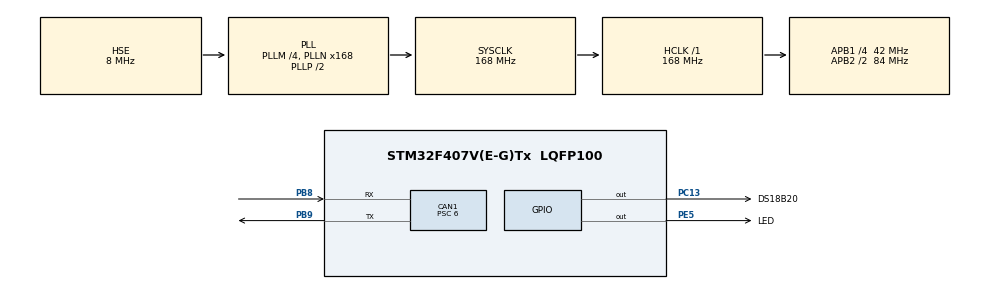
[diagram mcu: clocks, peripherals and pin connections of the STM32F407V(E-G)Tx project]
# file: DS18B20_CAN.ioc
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CAN1.BS1=CAN_BS1_11TQ
CAN1.BS2=CAN_BS2_2TQ
CAN1.CalculateBaudRate=500000
CAN1.CalculateTimeBit=2000
CAN1.CalculateTimeQuantum=142.85714285714286
CAN1.Mode=CAN_MODE_NORMAL
CAN1.NART=ENABLE
CAN1.Prescaler=6
CAN1.SJW=CAN_SJW_1TQ
Mcu.Family=STM32F4
Mcu.Name=STM32F407V(E-G)Tx
Mcu.Package=LQFP100
NVIC.PriorityGroup=NVIC_PRIORITYGROUP_4
PA13.Mode=Serial_Wire
PA13.Signal=SYS_JTMS-SWDIO
PA14.Mode=Serial_Wire
PA14.Signal=SYS_JTCK-SWCLK
PB8.Mode=CAN_Activate
PB8.Signal=CAN1_RX
PB9.Mode=CAN_Activate
PB9.Signal=CAN1_TX
PC13-ANTI_TAMP.GPIO_Label=DS18B20
PC13-ANTI_TAMP.GPIO_ModeDefaultOutputPP=GPIO_MODE_OUTPUT_OD
PC13-ANTI_TAMP.GPIO_PuPd=GPIO_NOPULL
PC13-ANTI_TAMP.GPIO_Speed=GPIO_SPEED_FREQ_LOW
PC13-ANTI_TAMP.PinState=GPIO_PIN_SET
PC13-ANTI_TAMP.Signal=GPIO_Output
PE5.GPIO_Label=LED
PE5.Signal=GPIO_Output
PH0-OSC_IN.Mode=HSE-External-Oscillator
PH0-OSC_IN.Signal=RCC_OSC_IN
PH1-OSC_OUT.Mode=HSE-External-Oscillator
PH1-OSC_OUT.Signal=RCC_OSC_OUT
ProjectManager.HeapSize=0x200
ProjectManager.StackSize=0x400
ProjectManager.TargetToolchain=MDK-ARM V5.32
RCC.48MHZClocksFreq_Value=48000000
RCC.AHBFreq_Value=168000000
RCC.APB1CLKDivider=RCC_HCLK_DIV4
RCC.APB1Freq_Value=42000000
RCC.APB1TimFreq_Value=84000000
RCC.APB2CLKDivider=RCC_HCLK_DIV2
RCC.APB2Freq_Value=84000000
RCC.APB2TimFreq_Value=168000000
RCC.CortexFreq_Value=168000000
RCC.HCLKFreq_Value=168000000
RCC.HSE_VALUE=8000000
RCC.HSI_VALUE=16000000
RCC.LSE_VALUE=32768
RCC.PLLM=4
RCC.PLLN=168
RCC.PLLQ=7
RCC.PLLSourceVirtual=RCC_PLLSOURCE_HSE
RCC.SYSCLKFreq_VALUE=168000000
RCC.SYSCLKSource=RCC_SYSCLKSOURCE_PLLCLK
RCC.VCOOutputFreq_Value=336000000
board=custom

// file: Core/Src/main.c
/* USER CODE BEGIN Header */
/**
  ******************************************************************************
  * @file           : main.c
  * @brief          : Main program body
  ******************************************************************************
  * @attention
  *
  * Copyright (c) 2026 STMicroelectronics.
  * All rights reserved.
  *
  * This software is licensed under terms that can be found in the LICENSE file
  * in the root directory of this software component.
  * If no LICENSE file comes with this software, it is provided AS-IS.
  *
  ******************************************************************************
  */
/* USER CODE END Header */
#include "main.h"
#include "can.h"
#include "gpio.h"

/* USER CODE BEGIN Includes */
#include "ds18b20.h"
#include "can_temperature.h"
/* USER CODE END Includes */

void SystemClock_Config(void);

int main(void)
{

  /* MCU Configuration--------------------------------------------------------*/

  /* Reset of all peripherals, Initializes the Flash interface and the Systick. */
  HAL_Init();

  /* Configure the system clock */
  SystemClock_Config();

  /* Initialize all configured peripherals */
  MX_GPIO_Init();
  MX_CAN1_Init();
  /* USER CODE BEGIN 2 */
  /* Enable the Cortex-M4 DWT cycle counter used by the 1-Wire microsecond delay. */
  DS18B20_Init();

  /* Configure an accept-all CAN filter and put CAN1 into the started state. */
  if (CAN_Temperature_Start() != HAL_OK)
  {
    Error_Handler();
  }
  /* USER CODE END 2 */

  /* Infinite loop */
  while (1)
  {

    /* USER CODE BEGIN 3 */
    uint32_t cycle_start = HAL_GetTick();
    int16_t raw_temperature = 0;
    int32_t temperature_milli_c = 0;
    DS18B20_Status sensor_status;
    CAN_TemperatureStatus can_status;

    /*
     * This is the best breakpoint for checking the sensor:
     * step over the call, then inspect sensor_status, raw_temperature and
     * temperature_milli_c in the Keil Watch window.
     */
    sensor_status = DS18B20_ReadTemperature(&raw_temperature,
                                            &temperature_milli_c);

    switch (sensor_status)
    {
      case DS18B20_OK:
        can_status = CAN_TEMPERATURE_STATUS_OK;
        break;
      case DS18B20_ERROR_CRC:
        can_status = CAN_TEMPERATURE_STATUS_CRC_ERROR;
        raw_temperature = 0;
        temperature_milli_c = 0;
        break;
      case DS18B20_ERROR_TIMEOUT:
        can_status = CAN_TEMPERATURE_STATUS_TIMEOUT;
        raw_temperature = 0;
        temperature_milli_c = 0;
        break;
      case DS18B20_ERROR_NO_DEVICE:
      default:
        can_status = CAN_TEMPERATURE_STATUS_NO_DEVICE;
        raw_temperature = 0;
        temperature_milli_c = 0;
        break;
    }

    /*
     * Send one standard CAN data frame (ID 0x181, DLC 8).  Even when the
     * sensor is absent, a diagnostic frame with status=1 is transmitted,
     * so the CAN link can be tested independently of the DS18B20.
     */
    (void)CAN_Temperature_Send(can_status, raw_temperature,
                               temperature_milli_c);
    /* A visible heartbeat: one toggle after each attempted CAN transmission. */
    HAL_GPIO_TogglePin(LED_GPIO_Port, LED_Pin);

    if ((HAL_GetTick() - cycle_start) < 1000U)
    {
      HAL_Delay(1000U - (HAL_GetTick() - cycle_start));
    }
  }
  /* USER CODE END 3 */
}

void SystemClock_Config(void)
{
  RCC_OscInitTypeDef RCC_OscInitStruct = {0};
  RCC_ClkInitTypeDef RCC_ClkInitStruct = {0};

  /** Configure the main internal regulator output voltage
  */
  __HAL_RCC_PWR_CLK_ENABLE();
  __HAL_PWR_VOLTAGESCALING_CONFIG(PWR_REGULATOR_VOLTAGE_SCALE1);

  /** Initializes the RCC Oscillators according to the specified parameters
  * in the RCC_OscInitTypeDef structure.
  */
  RCC_OscInitStruct.OscillatorType = RCC_OSCILLATORTYPE_HSE;
  RCC_OscInitStruct.HSEState = RCC_HSE_ON;
  RCC_OscInitStruct.PLL.PLLState = RCC_PLL_ON;
  RCC_OscInitStruct.PLL.PLLSource = RCC_PLLSOURCE_HSE;
  RCC_OscInitStruct.PLL.PLLM = 4;
  RCC_OscInitStruct.PLL.PLLN = 168;
  RCC_OscInitStruct.PLL.PLLP = RCC_PLLP_DIV2;
  RCC_OscInitStruct.PLL.PLLQ = 7;
  if (HAL_RCC_OscConfig(&RCC_OscInitStruct) != HAL_OK)
  {
    Error_Handler();
  }

  /** Initializes the CPU, AHB and APB buses clocks
  */
  RCC_ClkInitStruct.ClockType = RCC_CLOCKTYPE_HCLK|RCC_CLOCKTYPE_SYSCLK
                              |RCC_CLOCKTYPE_PCLK1|RCC_CLOCKTYPE_PCLK2;
  RCC_ClkInitStruct.SYSCLKSource = RCC_SYSCLKSOURCE_PLLCLK;
  RCC_ClkInitStruct.AHBCLKDivider = RCC_SYSCLK_DIV1;
  RCC_ClkInitStruct.APB1CLKDivider = RCC_HCLK_DIV4;
  RCC_ClkInitStruct.APB2CLKDivider = RCC_HCLK_DIV2;

  if (HAL_RCC_ClockConfig(&RCC_ClkInitStruct, FLASH_LATENCY_5) != HAL_OK)
  {
    Error_Handler();
  }
}

void Error_Handler(void)
{
  __disable_irq();
  while (1)
  {
  }
}
